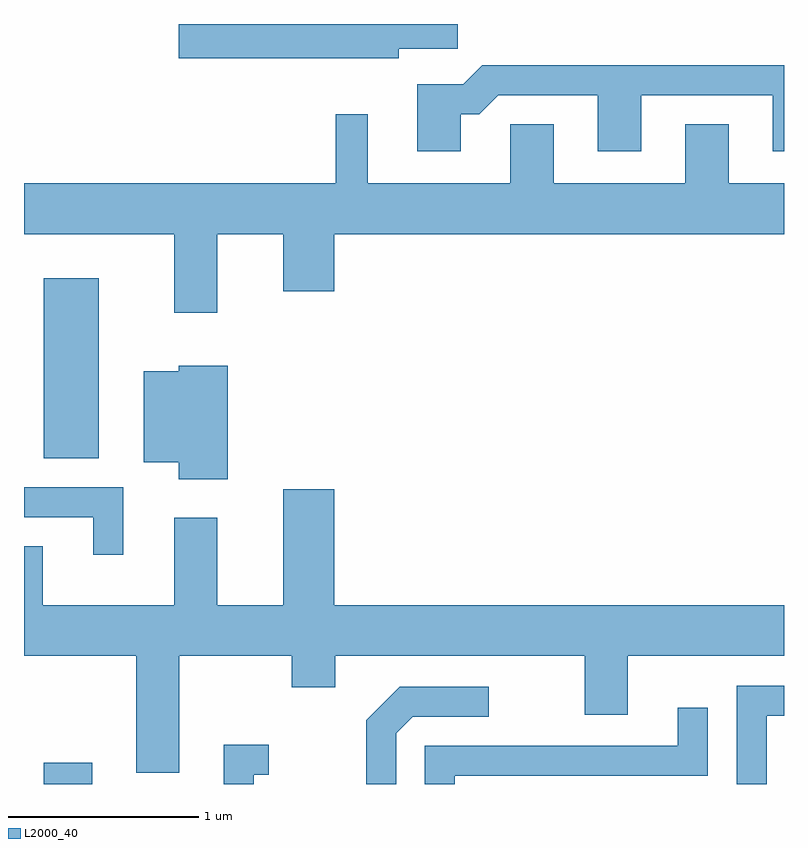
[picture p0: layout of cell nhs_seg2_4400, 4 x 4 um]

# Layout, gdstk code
import gdstk
lib = gdstk.Library(unit=1e-6, precision=1e-09)
def R(c, l, rs):  # rectangles x0, y0, x1, y1
    for r in rs: c.add(gdstk.rectangle(r[:2], r[2:], *l))
def P(c, l, *ps):  # polygons
    for p in ps: c.add(gdstk.Polygon(p, *l))
L2000_40 = (2000, 40)

nhs_seg2_4400 = lib.new_cell('nhs_seg2_4400')
R(nhs_seg2_4400, L2000_40, [(313.716,1109.802,313.969,1109.914), (313.716,1111.516,314.004,1112.464)])
P(nhs_seg2_4400, L2000_40, [(315.584,1113.671),(315.894,1113.671),(315.894,1113.802),(314.426,1113.802),(314.426,1113.621),(315.584,1113.621)],
  [(315.909,1113.326),(316.007,1113.326),(316.107,1113.426),(316.631,1113.426),(316.631,1113.131),(316.859,1113.131),(316.859,1113.426),(317.551,1113.426),(317.551,1113.131),(317.611,1113.131),(317.611,1113.584),(316.024,1113.584),(315.924,1113.484),(315.681,1113.484),(315.681,1113.131),(315.909,1113.131)],
  [(314.629,1112.696),(314.976,1112.696),(314.976,1112.396),(315.244,1112.396),(315.244,1112.696),(317.611,1112.696),(317.611,1112.964),(317.319,1112.964),(317.319,1113.274),(317.091,1113.274),(317.091,1112.964),(316.399,1112.964),(316.399,1113.274),(316.171,1113.274),(316.171,1112.964),(315.419,1112.964),(315.419,1113.328),(315.251,1113.328),(315.251,1112.964),(313.611,1112.964),(313.611,1112.696),(314.401,1112.696),(314.401,1112.281),(314.629,1112.281)],
  [(314.684,1112.004),(314.426,1112.004),(314.426,1111.974),(314.241,1111.974),(314.241,1111.496),(314.426,1111.496),(314.426,1111.406),(314.684,1111.406)],
  [(314.134,1111.364),(313.611,1111.364),(313.611,1111.206),(313.976,1111.206),(313.976,1111.008),(314.134,1111.008)],
  [(314.429,1110.476),(315.021,1110.476),(315.021,1110.311),(315.249,1110.311),(315.249,1110.476),(316.561,1110.476),(316.561,1110.166),(316.789,1110.166),(316.789,1110.476),(317.611,1110.476),(317.611,1110.744),(315.244,1110.744),(315.244,1111.354),(314.976,1111.354),(314.976,1110.744),(314.629,1110.744),(314.629,1111.204),(314.401,1111.204),(314.401,1110.744),(313.709,1110.744),(313.709,1111.054),(313.611,1111.054),(313.611,1110.476),(314.201,1110.476),(314.201,1109.861),(314.429,1109.861)],
  [(317.519,1110.161),(317.611,1110.161),(317.611,1110.319),(317.361,1110.319),(317.361,1109.802),(317.519,1109.802)],
  [(315.569,1110.069),(315.657,1110.156),(316.058,1110.156),(316.058,1110.314),(315.589,1110.314),(315.411,1110.137),(315.411,1109.802),(315.569,1109.802)],
  [(315.879,1109.846),(317.209,1109.846),(317.209,1110.203),(317.051,1110.203),(317.051,1110.004),(315.721,1110.004),(315.721,1109.802),(315.879,1109.802)],
  [(314.819,1109.851),(314.898,1109.851),(314.898,1110.009),(314.661,1110.009),(314.661,1109.802),(314.819,1109.802)])

lib.write_gds('nhs_seg2_4400.gds')
